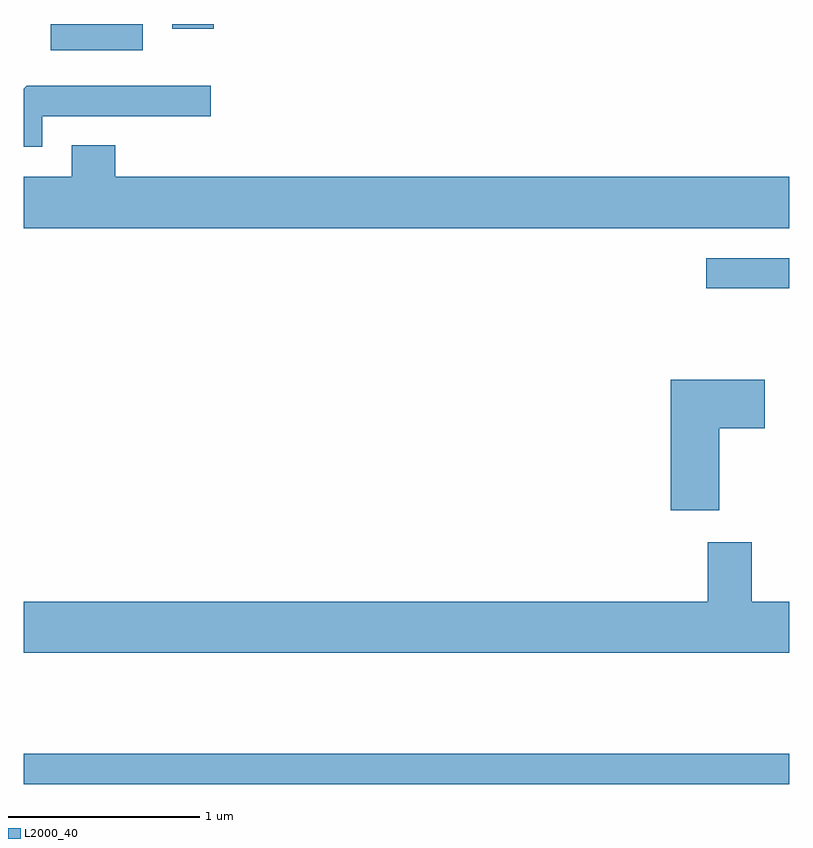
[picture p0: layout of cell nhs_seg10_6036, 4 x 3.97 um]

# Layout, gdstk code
import gdstk
lib = gdstk.Library(unit=1e-6, precision=1e-09)
def R(c, l, rs):  # rectangles x0, y0, x1, y1
    for r in rs: c.add(gdstk.rectangle(r[:2], r[2:], *l))
def P(c, l, *ps):  # polygons
    for p in ps: c.add(gdstk.Polygon(p, *l))
L2000_40 = (2000, 40)

nhs_seg10_6036 = lib.new_cell('nhs_seg10_6036')
R(nhs_seg10_6036, L2000_40, [(363.611,2126.551,367.611,2126.709), (367.178,2129.141,367.611,2129.299), (363.751,2130.386,364.234,2130.522), (364.386,2130.496,364.604,2130.522)])
P(nhs_seg10_6036, L2000_40, [(363.709,2130.041),(364.588,2130.041),(364.588,2130.199),(363.627,2130.199),(363.611,2130.183),(363.611,2129.881),(363.709,2129.881)],
  [(367.611,2129.724),(364.089,2129.724),(364.089,2129.889),(363.861,2129.889),(363.861,2129.724),(363.611,2129.724),(363.611,2129.456),(367.611,2129.456)],
  [(367.244,2128.411),(367.484,2128.411),(367.484,2128.664),(366.991,2128.664),(366.991,2127.981),(367.244,2127.981)],
  [(367.611,2127.504),(367.414,2127.504),(367.414,2127.814),(367.186,2127.814),(367.186,2127.504),(363.611,2127.504),(363.611,2127.236),(367.611,2127.236)])

lib.write_gds('nhs_seg10_6036.gds')
